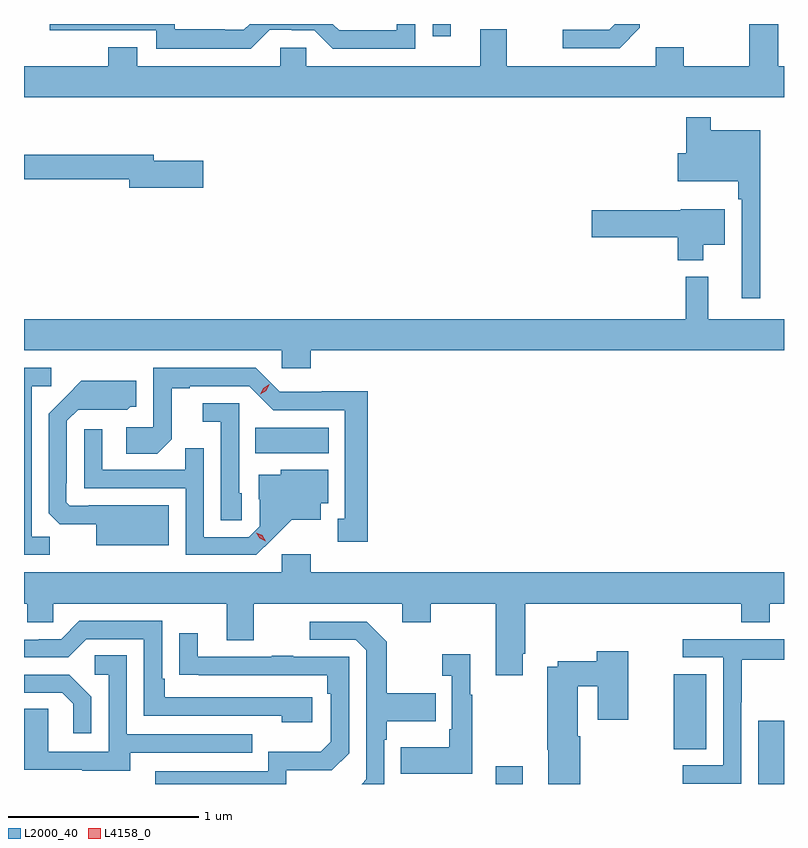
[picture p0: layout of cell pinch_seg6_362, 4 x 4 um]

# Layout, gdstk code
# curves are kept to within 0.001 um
import gdstk
lib = gdstk.Library(unit=1e-6, precision=1e-09)
def R(c, l, rs):  # rectangles x0, y0, x1, y1
    for r in rs: c.add(gdstk.rectangle(r[:2], r[2:], *l))
def P(c, l, *ps):  # polygons
    for p in ps: c.add(gdstk.Polygon(p, *l))
L2000_40 = (2000, 40)
L4158_0 = (4158, 0)

pinch_seg6_362 = lib.new_cell('pinch_seg6_362')
R(pinch_seg6_362, L2000_40, [(637.691,937.062,637.831,937.156), (639.071,937.062,639.207,937.395), (638.627,937.246,638.797,937.639), (636.424,938.804,636.811,938.938), (637.357,940.998,637.453,941.062)])
P(pinch_seg6_362, L2000_40, [(638.449,941.041),(638.449,941.062),(638.317,941.062),(638.286,941.031),(638.043,941.031),(638.043,940.935),(638.343,940.935)],
  [(636.501,941.031),(636.617,941.031),(636.617,941.028),(636.735,941.028),(636.831,940.932),(637.266,940.932),(637.266,941.062),(637.17,941.062),(637.17,941.028),(636.867,941.028),(636.833,941.062),(636.394,941.062),(636.363,941.031),(636.263,941.031),(636.263,941.035),(636,941.035),(636,941.062),(635.343,941.062),(635.343,941.028),(635.904,941.028),(635.904,940.931),(636.401,940.931)],
  [(639.207,940.84),(639.176,940.84),(639.176,941.062),(639.023,941.062),(639.023,940.84),(638.679,940.84),(638.679,940.939),(638.531,940.939),(638.531,940.84),(637.747,940.84),(637.747,941.035),(637.607,941.035),(637.607,940.84),(636.693,940.84),(636.693,940.938),(636.555,940.938),(636.555,940.84),(635.803,940.84),(635.803,940.939),(635.651,940.939),(635.651,940.84),(635.207,940.84),(635.207,940.676),(639.207,940.676)],
  [(639.082,940.504),(638.821,940.504),(638.821,940.57),(638.692,940.57),(638.692,940.383),(638.648,940.383),(638.648,940.235),(638.965,940.235),(638.965,940.139),(638.985,940.139),(638.985,939.618),(639.082,939.618)],
  [(636.151,940.341),(635.89,940.341),(635.89,940.375),(635.207,940.375),(635.207,940.246),(635.762,940.246),(635.762,940.199),(636.151,940.199)],
  [(638.782,939.899),(638.896,939.899),(638.896,940.087),(638.664,940.087),(638.664,940.082),(638.196,940.082),(638.196,939.94),(638.648,939.94),(638.648,939.818),(638.782,939.818)],
  [(636.716,939.344),(639.207,939.344),(639.207,939.508),(638.807,939.508),(638.807,939.733),(638.689,939.733),(638.689,939.508),(635.207,939.508),(635.207,939.344),(636.564,939.344),(636.564,939.251),(636.716,939.251)],
  [(637.015,939.128),(636.774,939.128),(636.774,939.126),(636.552,939.126),(636.426,939.252),(635.886,939.252),(635.886,938.94),(635.745,938.94),(635.745,938.8),(635.909,938.8),(635.985,938.876),(635.985,939.144),(636.079,939.144),(636.079,939.156),(636.393,939.156),(636.519,939.03),(636.896,939.03),(636.896,938.457),(636.857,938.457),(636.857,938.337),(637.015,938.337)],
  [(635.343,938.363),(635.247,938.363),(635.247,939.156),(635.35,939.156),(635.35,939.252),(635.207,939.252),(635.207,938.268),(635.343,938.268)],
  [(635.968,938.53),(635.548,938.53),(635.548,938.526),(635.448,938.526),(635.43,938.544),(635.43,938.644),(635.433,938.644),(635.433,938.973),(635.493,939.033),(635.75,939.032),(635.766,939.048),(635.797,939.048),(635.797,939.184),(635.509,939.184),(635.337,939.01),(635.337,938.488),(635.396,938.429),(635.588,938.429),(635.588,938.318),(635.968,938.318)],
  [(636.354,938.592),(636.339,938.592),(636.339,939.066),(636.147,939.066),(636.147,938.969),(636.243,938.969),(636.243,938.449),(636.354,938.449)],
  [(636.514,938.351),(636.617,938.453),(636.769,938.453),(636.769,938.54),(636.808,938.54),(636.808,938.716),(636.558,938.716),(636.558,938.689),(636.443,938.689),(636.443,938.56),(636.447,938.56),(636.447,938.418),(636.39,938.361),(636.153,938.361),(636.153,938.828),(636.055,938.828),(636.055,938.715),(635.619,938.715),(635.619,938.929),(635.523,938.929),(635.523,938.619),(636.057,938.619),(636.057,938.268),(636.43,938.268)],
  [(637.831,937.747),(637.844,937.747),(637.844,938.012),(638.981,938.012),(638.981,937.913),(639.133,937.913),(639.133,938.012),(639.207,938.012),(639.207,938.176),(636.716,938.176),(636.716,938.272),(636.564,938.272),(636.564,938.176),(635.207,938.176),(635.207,938.012),(635.223,938.012),(635.223,937.914),(635.361,937.914),(635.361,938.012),(636.275,938.012),(636.275,937.818),(636.415,937.818),(636.415,938.012),(637.199,938.012),(637.199,937.913),(637.347,937.913),(637.347,938.012),(637.691,938.012),(637.691,937.635),(637.831,937.635)],
  [(636.724,937.518),(635.947,937.518),(635.947,937.615),(635.934,937.615),(635.934,937.92),(635.499,937.92),(635.403,937.824),(635.285,937.824),(635.285,937.821),(635.207,937.821),(635.207,937.728),(635.439,937.728),(635.535,937.824),(635.838,937.824),(635.838,937.422),(636.563,937.422),(636.563,937.388),(636.724,937.388)],
  [(637.104,937.295),(637.117,937.295),(637.117,937.391),(637.373,937.391),(637.373,937.539),(637.117,937.539),(637.117,937.811),(637.011,937.917),(636.711,937.917),(636.711,937.821),(636.954,937.821),(637.008,937.767),(637.008,937.086),(636.984,937.062),(637.104,937.062)],
  [(636.588,937.134),(636.828,937.134),(636.918,937.224),(636.918,937.731),(636.623,937.731),(636.623,937.736),(636.511,937.736),(636.511,937.731),(636.121,937.731),(636.121,937.855),(636.025,937.855),(636.025,937.636),(636.802,937.635),(636.802,937.538),(636.822,937.538),(636.822,937.284),(636.769,937.231),(636.492,937.231),(636.492,937.128),(635.897,937.128),(635.897,937.062),(636.588,937.062)],
  [(638.982,937.492),(638.985,937.492),(638.985,937.716),(639.207,937.716),(639.207,937.824),(638.673,937.824),(638.673,937.728),(638.886,937.728),(638.886,937.161),(638.673,937.161),(638.673,937.063),(638.982,937.063)],
  [(638.135,937.313),(638.122,937.313),(638.122,937.577),(638.228,937.577),(638.228,937.401),(638.386,937.401),(638.386,937.762),(638.221,937.762),(638.221,937.707),(638.016,937.707),(638.016,937.678),(637.96,937.678),(637.96,937.243),(637.967,937.243),(637.967,937.062),(638.135,937.062)],
  [(637.567,937.531),(637.555,937.531),(637.555,937.744),(637.407,937.744),(637.407,937.631),(637.458,937.631),(637.458,937.351),(637.446,937.351),(637.446,937.255),(637.189,937.255),(637.189,937.115),(637.567,937.115)],
  [(635.767,937.227),(636.407,937.227),(636.407,937.323),(635.748,937.323),(635.748,937.739),(635.58,937.739),(635.58,937.638),(635.652,937.638),(635.652,937.233),(635.334,937.233),(635.334,937.457),(635.207,937.457),(635.207,937.137),(635.513,937.137),(635.513,937.133),(635.767,937.133)],
  [(635.562,937.522),(635.446,937.638),(635.207,937.638),(635.207,937.542),(635.408,937.542),(635.465,937.485),(635.465,937.329),(635.562,937.329)])
P(pinch_seg6_362, L4158_0, [(636.45,939.113),(636.45,939.113),(636.467,939.146),(636.498,939.165),(636.499,939.165),(636.499,939.165),(636.481,939.132),(636.45,939.113)],
  [(636.479,938.34),(636.448,938.355),(636.43,938.385),(636.43,938.385),(636.43,938.385),(636.461,938.37),(636.479,938.34),(636.479,938.34)])

lib.write_gds('pinch_seg6_362.gds')
